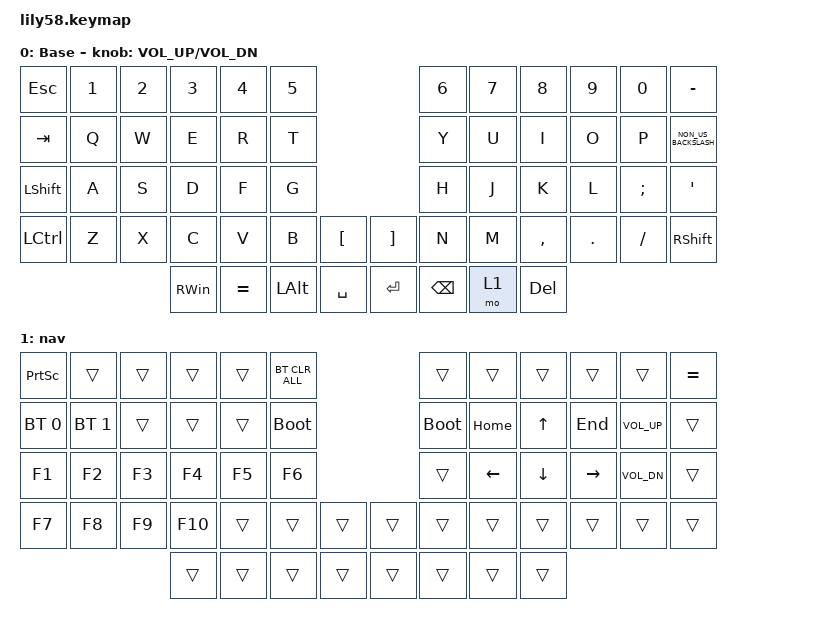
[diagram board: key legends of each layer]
/*
 * Copyright (c) 2020 The ZMK Contributors
 *
 * SPDX-License-Identifier: MIT
 */

#include <behaviors.dtsi>
#include <dt-bindings/zmk/bt.h>
#include <dt-bindings/zmk/keys.h>

/ {
    keymap {
        compatible = "zmk,keymap";

        default_layer {
            // ------------------------------------------------------------------------------------------------------------
            // |  ESC  |  1  |  2  |  3   |  4   |  5   |                   |  6   |  7    |  8    |  9   |   0   |   `   |
            // |  TAB  |  Q  |  W  |  E   |  R   |  T   |                   |  Y   |  U    |  I    |  O   |   P   |   -   |
            // |  CTRL |  A  |  S  |  D   |  F   |  G   |                   |  H   |  J    |  K    |  L   |   ;   |   '   |
            // | SHIFT |  Z  |  X  |  C   |  V   |  B   |   "["  |  |  "]"  |  N   |  M    |  ,    |  .   |   /   | SHIFT |
            //                     | ALT  | GUI  | LOWER|  SPACE |  | ENTER | RAISE| BSPC  | GUI   |

            display-name = "Base";
            bindings = <
&kp ESC           &kp N1  &kp N2  &kp N3         &kp N4     &kp N5                               &kp N6         &kp N7  &kp N8      &kp N9   &kp N0    &kp MINUS
&kp TAB           &kp Q   &kp W   &kp E          &kp R      &kp T                                &kp Y          &kp U   &kp I       &kp O    &kp P     &kp NON_US_BACKSLASH
&kp LEFT_SHIFT    &kp A   &kp S   &kp D          &kp F      &kp G                                &kp H          &kp J   &kp K       &kp L    &kp SEMI  &kp SQT
&kp LEFT_CONTROL  &kp Z   &kp X   &kp C          &kp V      &kp B         &kp LBKT     &kp RBKT  &kp N          &kp M   &kp COMMA   &kp DOT  &kp FSLH  &kp RSHFT
                                  &kp RIGHT_WIN  &kp EQUAL  &kp LEFT_ALT  &kp SPACE    &kp RET   &kp BACKSPACE  &mo 1   &kp DELETE
            >;

            sensor-bindings = <&inc_dec_kp C_VOL_UP C_VOL_DN>;
        };

        nav {
            bindings = <
&kp PRINTSCREEN  &trans        &trans  &trans   &trans  &bt BT_CLR_ALL                    &trans       &trans    &trans    &trans     &trans        &kp EQUAL
&bt BT_SEL 0     &bt BT_SEL 1  &trans  &trans   &trans  &bootloader                       &bootloader  &kp HOME  &kp UP    &kp END    &kp C_VOL_UP  &trans
&kp F1           &kp F2        &kp F3  &kp F4   &kp F5  &kp F6                            &trans       &kp LEFT  &kp DOWN  &kp RIGHT  &kp C_VOL_DN  &trans
&kp F7           &kp F8        &kp F9  &kp F10  &trans  &trans          &trans    &trans  &trans       &trans    &trans    &trans     &trans        &trans
                                       &trans   &trans  &trans          &trans    &trans  &trans       &trans    &trans
            >;
        };
    };
};
